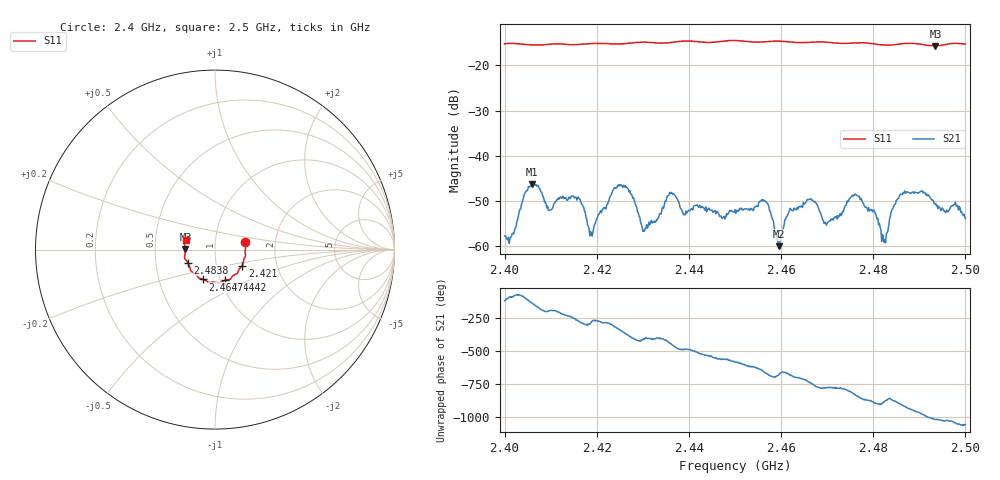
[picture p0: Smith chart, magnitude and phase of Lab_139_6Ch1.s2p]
# Hz S RI R 50
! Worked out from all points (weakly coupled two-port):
!   601 points, 2.4 GHz to 2.5 GHz, reference 50 ohm
!   highest |S21| = -46.31 dB at 2.406 GHz (marker M1); lowest = -60.0 dB at 2.4595 GHz (marker M2)
!   lowest |S11| = -15.7 dB at 2.4935 GHz (marker M3), VSWR 1.39, Z = 35.8 + j0.183 ohm
!   |S11| at or under -10 dB: start of sweep to end of sweep
!   S12 and S22 are empty: the file has one direction only
!   S11 on the Smith chart (normalised r, x): 2.4 GHz: 1.40, +0.12; 2.421 GHz: 1.33, -0.24; 2.4442 GHz: 1.05, -0.37; 2.4647 GHz: 0.83, -0.28; 2.4838 GHz: 0.73, -0.11; 2.5 GHz: 0.71, +0.08
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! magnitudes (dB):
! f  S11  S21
! 2.4 GHz  -15.2  -57.7
! 2.406 GHz  -15.4  -46.3
! 2.4167 GHz  -15.3  -50.6
! 2.4187 GHz  -15.1  -56.8
! 2.421 GHz  -15.1  -52.6
! 2.425 GHz  -15.2  -46.4
! 2.4302 GHz  -14.8  -56.5
! 2.4333 GHz  -15.0  -53.8
! 2.4362 GHz  -14.9  -48.1
! 2.4442 GHz  -14.9  -51.8
! 2.45 GHz  -14.5  -51.9
! 2.4567 GHz  -14.7  -50.1
! 2.4595 GHz  -14.6  -60.0
! 2.4647 GHz  -14.9  -51.5
! 2.4667 GHz  -14.8  -49.8
! 2.4698 GHz  -14.8  -55.4
! 2.4765 GHz  -15.0  -48.8
! 2.4833 GHz  -15.5  -55.6
! 2.4838 GHz  -15.5  -52.7
! 2.487 GHz  -15.1  -48.3
! 2.4935 GHz  -15.7  -50.6
! 2.5 GHz  -15.3  -53.9
